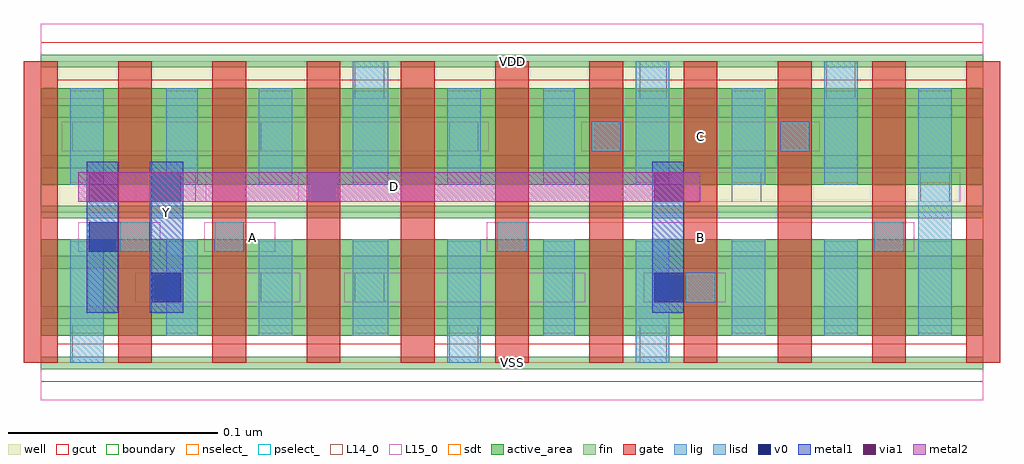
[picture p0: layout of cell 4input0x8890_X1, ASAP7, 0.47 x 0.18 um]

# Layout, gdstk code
import gdstk
lib = gdstk.Library(unit=1e-6, precision=1e-09)
def R(c, l, rs):  # rectangles x0, y0, x1, y1
    for r in rs: c.add(gdstk.rectangle(r[:2], r[2:], *l))
def A(c, l, x, y, w, h, nx, ny, dx, dy):  # array of equal rectangles
    R(c, l, [(x+i*dx, y+j*dy, x+i*dx+w, y+j*dy+h) for i in range(nx) for j in range(ny)])
def P(c, l, *ps):  # polygons
    for p in ps: c.add(gdstk.Polygon(p, *l))
well = (1, 0)
fin = (2, 0)
gate = (7, 0)
gcut = (10, 0)
active_area = (11, 0)
nselect_ = (12, 0)
pselect_ = (13, 0)
L14_0 = (14, 0)
L15_0 = (15, 0)
lig = (16, 0)
lisd = (17, 0)
v0 = (18, 0)
metal1 = (19, 0)
metal2 = (20, 0)
via1 = (21, 0)
sdt = (88, 0)
boundary = (100, 0)

c_4input0x8890_x1 = lib.new_cell('4input0x8890_X1')
R(c_4input0x8890_x1, well, [(0,0.072,0.45,0.144)])
A(c_4input0x8890_x1, fin, 0, -0.003, 0.45, 0.006, 1, 7, 0, 0.024)
A(c_4input0x8890_x1, gate, -0.008, 0, 0.016, 0.144, 11, 1, 0.045, 0)
P(c_4input0x8890_x1, gcut, [(0,-0.009),(0,0),(-0.008,0),(-0.008,0.135),(0.008,0.135),(0.008,0.009),(0.172,0.009),(0.172,0.135),(0.188,0.135),(0.188,0.009),(0.442,0.009),(0.442,0.135),(-0.008,0.135),(-0.008,0.144),(0,0.144),(0,0.153),(0.45,0.153),(0.45,0.144),(0.458,0.144),(0.458,0),(0.45,0),(0.45,-0.009)])
R(c_4input0x8890_x1, active_area, [(0,0.013,0.45,0.059), (0,0.085,0.45,0.131)])
R(c_4input0x8890_x1, nselect_, [(0,0,0.45,0.072)])
R(c_4input0x8890_x1, pselect_, [(0,0.072,0.45,0.144)])
R(c_4input0x8890_x1, L14_0, [(0.015,0,0.03,0.018), (0.195,0,0.209,0.018), (0.286,0,0.299,0.018), (0.105,0.029,0.12,0.043), (0.15,0.029,0.164,0.043), (0.24,0.029,0.254,0.043), (0.308,0.029,0.322,0.043), (0.038,0.053,0.052,0.067), (0.083,0.053,0.097,0.067), (0.218,0.053,0.232,0.067), (0.398,0.053,0.412,0.067), (0.06,0.077,0.074,0.091), (0.128,0.077,0.142,0.091), (0.33,0.077,0.344,0.091), (0.42,0.077,0.434,0.091), (0.015,0.101,0.03,0.115), (0.105,0.101,0.12,0.115), (0.195,0.101,0.209,0.115), (0.263,0.101,0.277,0.115), (0.353,0.101,0.367,0.115), (0.15,0.126,0.164,0.144), (0.286,0.126,0.299,0.144), (0.375,0.126,0.389,0.144)])
R(c_4input0x8890_x1, L15_0, [(0,-0.018,0.45,0.018), (0.045,0.029,0.124,0.043), (0.145,0.029,0.26,0.043), (0.288,0.029,0.327,0.043), (0.018,0.053,0.057,0.067), (0.078,0.053,0.112,0.067), (0.213,0.053,0.417,0.067), (0.045,0.077,0.079,0.091), (0.123,0.077,0.439,0.091), (0.01,0.101,0.214,0.115), (0.258,0.101,0.372,0.115), (0,0.126,0.45,0.162)])
R(c_4input0x8890_x1, lig, [(0.308,0.029,0.322,0.043), (0.038,0.053,0.052,0.067), (0.083,0.053,0.097,0.067), (0.218,0.053,0.232,0.067), (0.398,0.053,0.412,0.067), (0.128,0.077,0.142,0.091), (0.263,0.101,0.277,0.115), (0.353,0.101,0.367,0.115)])
A(c_4input0x8890_x1, lisd, 0.014, 0.085, 0.016, 0.046, 3, 1, 0.09, 0)
R(c_4input0x8890_x1, lisd, [(0.014,0,0.03,0.059), (0.194,0,0.21,0.059), (0.284,0,0.3,0.059), (0.06,0.013,0.075,0.059), (0.104,0.013,0.12,0.059), (0.149,0.013,0.166,0.059), (0.24,0.013,0.255,0.059), (0.33,0.013,0.346,0.059), (0.374,0.013,0.39,0.059), (0.419,0.013,0.435,0.131), (0.06,0.085,0.075,0.131), (0.149,0.085,0.166,0.144), (0.24,0.085,0.255,0.131), (0.284,0.085,0.3,0.144), (0.33,0.085,0.346,0.131), (0.374,0.085,0.39,0.144)])
R(c_4input0x8890_x1, v0, [(0.053,0.029,0.067,0.043), (0.293,0.029,0.307,0.043), (0.023,0.053,0.037,0.067), (0.053,0.077,0.067,0.091)])
R(c_4input0x8890_x1, metal1, [(0.022,0.024,0.037,0.096), (0.052,0.024,0.068,0.096), (0.292,0.024,0.307,0.096)])
R(c_4input0x8890_x1, metal2, [(0.018,0.077,0.315,0.091)])
R(c_4input0x8890_x1, via1, [(0.023,0.077,0.037,0.091), (0.293,0.077,0.307,0.091)])
A(c_4input0x8890_x1, sdt, 0.014, 0.014, 0.016, 0.044, 4, 2, 0.09, 0.072)
R(c_4input0x8890_x1, sdt, [(0.06,0.014,0.075,0.058), (0.149,0.014,0.166,0.058), (0.24,0.014,0.255,0.058), (0.33,0.014,0.346,0.058), (0.374,0.014,0.39,0.058), (0.419,0.014,0.435,0.058), (0.06,0.086,0.075,0.13), (0.149,0.086,0.166,0.13), (0.24,0.086,0.255,0.13), (0.33,0.086,0.346,0.13), (0.374,0.086,0.39,0.13), (0.419,0.086,0.435,0.13)])
R(c_4input0x8890_x1, boundary, [(0,0,0.45,0.144)])
c_4input0x8890_x1.add(gdstk.Label('C', (0.315,0.108), layer=15, texttype=251))
c_4input0x8890_x1.add(gdstk.Label('VSS', (0.225,0), layer=15, texttype=251))
c_4input0x8890_x1.add(gdstk.Label('VDD', (0.225,0.144), layer=15, texttype=251))
c_4input0x8890_x1.add(gdstk.Label('B', (0.315,0.06), layer=15, texttype=251))
c_4input0x8890_x1.add(gdstk.Label('VSS', (0.225,0), layer=15, texttype=251))
c_4input0x8890_x1.add(gdstk.Label('VDD', (0.225,0.144), layer=15, texttype=251))
c_4input0x8890_x1.add(gdstk.Label('VSS', (0.225,0), layer=15, texttype=251))
c_4input0x8890_x1.add(gdstk.Label('VDD', (0.225,0.144), layer=15, texttype=251))
c_4input0x8890_x1.add(gdstk.Label('VSS', (0.225,0), layer=15, texttype=251))
c_4input0x8890_x1.add(gdstk.Label('VDD', (0.225,0.144), layer=15, texttype=251))
c_4input0x8890_x1.add(gdstk.Label('A', (0.101,0.06), layer=15, texttype=251))
c_4input0x8890_x1.add(gdstk.Label('VSS', (0.225,0), layer=15, texttype=251))
c_4input0x8890_x1.add(gdstk.Label('VDD', (0.225,0.144), layer=15, texttype=251))
c_4input0x8890_x1.add(gdstk.Label('VSS', (0.225,0), layer=3, texttype=251))
c_4input0x8890_x1.add(gdstk.Label('VSS', (0.225,0), layer=3, texttype=251))
c_4input0x8890_x1.add(gdstk.Label('VSS', (0.225,0), layer=3, texttype=251))
c_4input0x8890_x1.add(gdstk.Label('VSS', (0.225,0), layer=3, texttype=251))
c_4input0x8890_x1.add(gdstk.Label('VSS', (0.225,0), layer=3, texttype=251))
c_4input0x8890_x1.add(gdstk.Label('VDD', (0.225,0.144), layer=1, texttype=251))
c_4input0x8890_x1.add(gdstk.Label('VDD', (0.225,0.144), layer=1, texttype=251))
c_4input0x8890_x1.add(gdstk.Label('VDD', (0.225,0.144), layer=1, texttype=251))
c_4input0x8890_x1.add(gdstk.Label('VDD', (0.225,0.144), layer=1, texttype=251))
c_4input0x8890_x1.add(gdstk.Label('VDD', (0.225,0.144), layer=1, texttype=251))
c_4input0x8890_x1.add(gdstk.Label('D', (0.169,0.084), layer=20, texttype=251))
c_4input0x8890_x1.add(gdstk.Label('Y', (0.06,0.072), layer=19, texttype=251))

lib.write_gds('4input0x8890_X1.gds')
